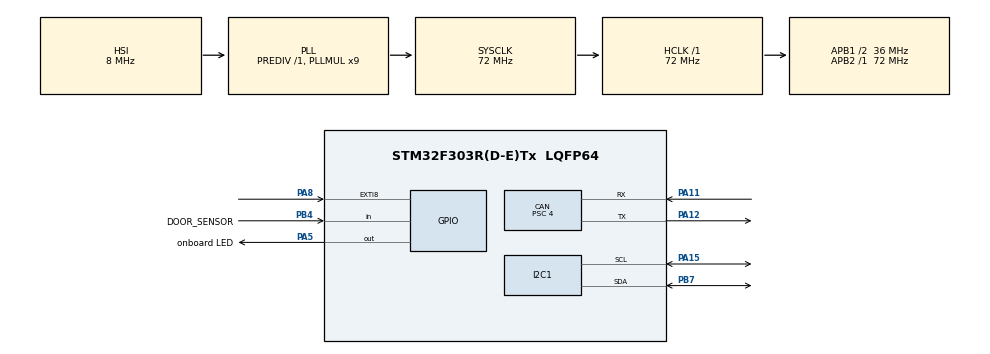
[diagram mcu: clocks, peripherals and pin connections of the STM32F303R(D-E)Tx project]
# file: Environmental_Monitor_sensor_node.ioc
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CAN.ABOM=ENABLE
CAN.AWUM=ENABLE
CAN.BS1=CAN_BS1_15TQ
CAN.BS2=CAN_BS2_2TQ
CAN.CalculateBaudRate=500000
CAN.CalculateTimeBit=2000
CAN.CalculateTimeQuantum=111.11111111111111
CAN.NART=ENABLE
CAN.Prescaler=4
I2C1.Timing=0x00201D2B
Mcu.Family=STM32F3
Mcu.Name=STM32F303R(D-E)Tx
Mcu.Package=LQFP64
NVIC.EXTI9_5_IRQn=true\:0\:0\:false\:false\:true\:true\:true\:true
NVIC.PriorityGroup=NVIC_PRIORITYGROUP_0
NVIC.USB_LP_CAN_RX0_IRQn=true\:0\:0\:false\:false\:true\:true\:true\:true
PA11.Mode=CAN_Activate
PA11.Signal=CAN_RX
PA12.Mode=CAN_Activate
PA12.Signal=CAN_TX
PA13.Mode=Serial_Wire
PA13.Signal=SYS_JTMS-SWDIO
PA14.Mode=Serial_Wire
PA14.Signal=SYS_JTCK-SWCLK
PA15.Mode=I2C
PA15.Signal=I2C1_SCL
PA5.GPIO_Label=onboard LED
PA5.GPIO_PuPd=GPIO_NOPULL
PA5.Signal=GPIO_Output
PA8.GPIO_ModeDefaultEXTI=GPIO_MODE_IT_RISING_FALLING
PA8.GPIO_PuPd=GPIO_NOPULL
PA8.Signal=GPXTI8
PB4.GPIO_Label=DOOR_SENSOR
PB4.GPIO_PuPd=GPIO_PULLUP
PB4.Signal=GPIO_Input
PB7.Mode=I2C
PB7.Signal=I2C1_SDA
ProjectManager.HeapSize=0x200
ProjectManager.StackSize=0x400
ProjectManager.TargetToolchain=STM32CubeIDE
RCC.AHBFreq_Value=72000000
RCC.APB1CLKDivider=RCC_HCLK_DIV2
RCC.APB1Freq_Value=36000000
RCC.APB1TimFreq_Value=72000000
RCC.APB2Freq_Value=72000000
RCC.APB2TimFreq_Value=72000000
RCC.CortexFreq_Value=72000000
RCC.HCLKFreq_Value=72000000
RCC.HSE_VALUE=8000000
RCC.HSI_VALUE=8000000
RCC.LSE_VALUE=32768
RCC.PLLM=8
RCC.PLLMUL=RCC_PLL_MUL9
RCC.PLLN=336
RCC.PLLP=RCC_PLLP_DIV4
RCC.PLLQ=7
RCC.RCC_PLLsource_Clock_Source_FROM_HSE=RCC_HSE_PREDIV_DIV2
RCC.SYSCLKFreq_VALUE=72000000
RCC.SYSCLKSourceVirtual=RCC_SYSCLKSOURCE_PLLCLK
RCC.USBFreq_Value=72000000
board=NUCLEO-F303RE

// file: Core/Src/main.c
/* USER CODE BEGIN Header */
/**
  ******************************************************************************
  * @file           : main.c
  * @brief          : Main program body
  ******************************************************************************
  * @attention
  *
  * Copyright (c) 2026 STMicroelectronics.
  * All rights reserved.
  *
  * This software is licensed under terms that can be found in the LICENSE file
  * in the root directory of this software component.
  * If no LICENSE file comes with this software, it is provided AS-IS.
  *
  ******************************************************************************
  */
/* USER CODE END Header */
#include "main.h"

/* USER CODE BEGIN Includes */
#include "bme280.h"
#include "pir.h"
#include "door.h"
#include <string.h>

/* USER CODE END Includes */

CAN_HandleTypeDef hcan;

I2C_HandleTypeDef hi2c1;

/* USER CODE BEGIN PV */
BME280_Data sensor_data;
uint8_t chip_id = 0;
HAL_StatusTypeDef status;
CAN_TxHeaderTypeDef   TxHeader;
uint8_t               TxData[8];
uint32_t              TxMailbox;
uint32_t last_tx_time = 0;
/* USER CODE END PV */

void SystemClock_Config(void);
static void MX_GPIO_Init(void);
static void MX_I2C1_Init(void);
static void MX_CAN_Init(void);

int main(void)
{

  /* MCU Configuration--------------------------------------------------------*/

  /* Reset of all peripherals, Initializes the Flash interface and the Systick. */
  HAL_Init();

  /* Configure the system clock */
  SystemClock_Config();

  /* Initialize all configured peripherals */
  MX_GPIO_Init();
  MX_I2C1_Init();
  MX_CAN_Init();
  /* USER CODE BEGIN 2 */
    BME280_Init(&hi2c1);
    // --- DIAGNOSTIC START ---

    // Try reading the ID register (0xD0) from address 0x76
   // status = HAL_I2C_Mem_Read(&hi2c1, (0x76 << 1), 0xD0, 1, &chip_id, 1, 100);

   // if (status != HAL_OK) {
        // If 0x76 failed, try 0x77
      //  status = HAL_I2C_Mem_Read(&hi2c1, (0x77 << 1), 0xD0, 1, &chip_id, 1, 100);
    //}
    // --- DIAGNOSTIC END ---

    // --- 1. CONFIG FILTER (Accept All) ---
    CAN_FilterTypeDef canfilterconfig;

    canfilterconfig.FilterActivation = CAN_FILTER_ENABLE;
    canfilterconfig.FilterBank = 10;
    canfilterconfig.FilterFIFOAssignment = CAN_RX_FIFO0;
    canfilterconfig.FilterIdHigh = 0;
    canfilterconfig.FilterIdLow = 0;
    canfilterconfig.FilterMaskIdHigh = 0;
    canfilterconfig.FilterMaskIdLow = 0;
    canfilterconfig.FilterMode = CAN_FILTERMODE_IDMASK;
    canfilterconfig.FilterScale = CAN_FILTERSCALE_32BIT;
    canfilterconfig.SlaveStartFilterBank = 14;

    HAL_CAN_ConfigFilter(&hcan, &canfilterconfig);

    // --- 2. START CAN ---
    HAL_CAN_Start(&hcan);

    // --- 3. SETUP HEADER ---
    TxHeader.DLC = 5;
    TxHeader.IDE = CAN_ID_STD;
    TxHeader.RTR = CAN_RTR_DATA;
    TxHeader.StdId = 0x103; // ID = 0x103
    TxHeader.TransmitGlobalTime = DISABLE;

  /* USER CODE END 2 */

  /* Infinite loop */
    /* USER CODE BEGIN WHILE */
    while (1)
    {
        BME280_ReadSensor(&sensor_data);

        // Send data every 500ms (prevent flooding the bus)
        if (HAL_GetTick() - last_tx_time > 500)
        {
        	last_tx_time = HAL_GetTick();
            // --- MESSAGE 1: ID 0x103 (Door + PIR + Temperature) ---
            TxHeader.StdId = 0x103;
            TxHeader.DLC = 6; // 1 byte Door + 1 byte PIR + 4 bytes Temp

            // Byte 0: Door Status
            if (HAL_GPIO_ReadPin(DOOR_SENSOR_GPIO_Port, DOOR_SENSOR_Pin) == GPIO_PIN_RESET) {
                TxData[0] = 'D'; // Open
            } else {
                TxData[0] = 'C'; // Closed
            }

            // Byte 1: PIR motion (1 = motion, 0 = no motion)
            TxData[1] = (PIR_GetStatus() == PIR_MOTION_DETECTED) ? 1 : 0;

            // Bytes 2-5: Temperature (float)
            memcpy(&TxData[2], &sensor_data.temperature_C, 4);

            if (HAL_CAN_GetTxMailboxesFreeLevel(&hcan) > 0) {
                HAL_CAN_AddTxMessage(&hcan, &TxHeader, TxData, &TxMailbox);
                HAL_GPIO_TogglePin(onboard_LED_GPIO_Port, onboard_LED_Pin); // Blink on send
            }

            HAL_Delay(10); // Small delay between messages

            // --- MESSAGE 2: ID 0x104 (Pressure + Humidity) ---
            TxHeader.StdId = 0x104;
            TxHeader.DLC = 8; // 4 bytes Pressure + 4 bytes Humidity

            // Bytes 0-3: Pressure
            memcpy(&TxData[0], &sensor_data.pressure_hPa, 4);

            // Bytes 4-7: Humidity
            memcpy(&TxData[4], &sensor_data.humidity_pct, 4);

            // Wait until a mailbox becomes available before dropping the next message
            uint32_t timeout = HAL_GetTick();
            while (HAL_CAN_GetTxMailboxesFreeLevel(&hcan) == 0) {
                if (HAL_GetTick() - timeout > 10) {
                    break; // Timeout! Escape the loop.
                }
            }
            // Only add the message if we actually broke out because a mailbox opened
            if (HAL_CAN_GetTxMailboxesFreeLevel(&hcan) > 0) {
                HAL_CAN_AddTxMessage(&hcan, &TxHeader, TxData, &TxMailbox);
            }
        }
    }
    /* USER CODE END WHILE */
    /* USER CODE BEGIN 3 */
  // }
  /* USER CODE END 3 */
}

void SystemClock_Config(void)
{
  RCC_OscInitTypeDef RCC_OscInitStruct = {0};
  RCC_ClkInitTypeDef RCC_ClkInitStruct = {0};
  RCC_PeriphCLKInitTypeDef PeriphClkInit = {0};

  /** Initializes the RCC Oscillators according to the specified parameters
  * in the RCC_OscInitTypeDef structure.
  */
  RCC_OscInitStruct.OscillatorType = RCC_OSCILLATORTYPE_HSI;
  RCC_OscInitStruct.HSIState = RCC_HSI_ON;
  RCC_OscInitStruct.HSICalibrationValue = RCC_HSICALIBRATION_DEFAULT;
  RCC_OscInitStruct.PLL.PLLState = RCC_PLL_ON;
  RCC_OscInitStruct.PLL.PLLSource = RCC_PLLSOURCE_HSI;
  RCC_OscInitStruct.PLL.PLLMUL = RCC_PLL_MUL9;
  RCC_OscInitStruct.PLL.PREDIV = RCC_PREDIV_DIV1;
  if (HAL_RCC_OscConfig(&RCC_OscInitStruct) != HAL_OK)
  {
    Error_Handler();
  }

  /** Initializes the CPU, AHB and APB buses clocks
  */
  RCC_ClkInitStruct.ClockType = RCC_CLOCKTYPE_HCLK|RCC_CLOCKTYPE_SYSCLK
                              |RCC_CLOCKTYPE_PCLK1|RCC_CLOCKTYPE_PCLK2;
  RCC_ClkInitStruct.SYSCLKSource = RCC_SYSCLKSOURCE_PLLCLK;
  RCC_ClkInitStruct.AHBCLKDivider = RCC_SYSCLK_DIV1;
  RCC_ClkInitStruct.APB1CLKDivider = RCC_HCLK_DIV2;
  RCC_ClkInitStruct.APB2CLKDivider = RCC_HCLK_DIV1;

  if (HAL_RCC_ClockConfig(&RCC_ClkInitStruct, FLASH_LATENCY_2) != HAL_OK)
  {
    Error_Handler();
  }
  PeriphClkInit.PeriphClockSelection = RCC_PERIPHCLK_I2C1;
  PeriphClkInit.I2c1ClockSelection = RCC_I2C1CLKSOURCE_HSI;
  if (HAL_RCCEx_PeriphCLKConfig(&PeriphClkInit) != HAL_OK)
  {
    Error_Handler();
  }
}

static void MX_CAN_Init(void)
{

  hcan.Instance = CAN;
  hcan.Init.Prescaler = 4;
  hcan.Init.Mode = CAN_MODE_NORMAL;
  hcan.Init.SyncJumpWidth = CAN_SJW_1TQ;
  hcan.Init.TimeSeg1 = CAN_BS1_15TQ;
  hcan.Init.TimeSeg2 = CAN_BS2_2TQ;
  hcan.Init.TimeTriggeredMode = DISABLE;
  hcan.Init.AutoBusOff = ENABLE;
  hcan.Init.AutoWakeUp = ENABLE;
  hcan.Init.AutoRetransmission = ENABLE;
  hcan.Init.ReceiveFifoLocked = DISABLE;
  hcan.Init.TransmitFifoPriority = DISABLE;
  if (HAL_CAN_Init(&hcan) != HAL_OK)
  {
    Error_Handler();
  }

}

static void MX_I2C1_Init(void)
{

  hi2c1.Instance = I2C1;
  hi2c1.Init.Timing = 0x00201D2B;
  hi2c1.Init.OwnAddress1 = 0;
  hi2c1.Init.AddressingMode = I2C_ADDRESSINGMODE_7BIT;
  hi2c1.Init.DualAddressMode = I2C_DUALADDRESS_DISABLE;
  hi2c1.Init.OwnAddress2 = 0;
  hi2c1.Init.OwnAddress2Masks = I2C_OA2_NOMASK;
  hi2c1.Init.GeneralCallMode = I2C_GENERALCALL_DISABLE;
  hi2c1.Init.NoStretchMode = I2C_NOSTRETCH_DISABLE;
  if (HAL_I2C_Init(&hi2c1) != HAL_OK)
  {
    Error_Handler();
  }

  /** Configure Analogue filter
  */
  if (HAL_I2CEx_ConfigAnalogFilter(&hi2c1, I2C_ANALOGFILTER_ENABLE) != HAL_OK)
  {
    Error_Handler();
  }

  /** Configure Digital filter
  */
  if (HAL_I2CEx_ConfigDigitalFilter(&hi2c1, 0) != HAL_OK)
  {
    Error_Handler();
  }

}

static void MX_GPIO_Init(void)
{
  GPIO_InitTypeDef GPIO_InitStruct = {0};

  /* GPIO Ports Clock Enable */
  __HAL_RCC_GPIOA_CLK_ENABLE();
  __HAL_RCC_GPIOB_CLK_ENABLE();

  /*Configure GPIO pin Output Level */
  HAL_GPIO_WritePin(onboard_LED_GPIO_Port, onboard_LED_Pin, GPIO_PIN_RESET);

  /*Configure GPIO pin : onboard_LED_Pin */
  GPIO_InitStruct.Pin = onboard_LED_Pin;
  GPIO_InitStruct.Mode = GPIO_MODE_OUTPUT_PP;
  GPIO_InitStruct.Pull = GPIO_NOPULL;
  GPIO_InitStruct.Speed = GPIO_SPEED_FREQ_LOW;
  HAL_GPIO_Init(onboard_LED_GPIO_Port, &GPIO_InitStruct);

  /*Configure GPIO pin : PA8 */
  GPIO_InitStruct.Pin = GPIO_PIN_8;
  GPIO_InitStruct.Mode = GPIO_MODE_IT_RISING_FALLING;
  GPIO_InitStruct.Pull = GPIO_NOPULL;
  HAL_GPIO_Init(GPIOA, &GPIO_InitStruct);

  /*Configure GPIO pin : DOOR_SENSOR_Pin */
  GPIO_InitStruct.Pin = DOOR_SENSOR_Pin;
  GPIO_InitStruct.Mode = GPIO_MODE_INPUT;
  GPIO_InitStruct.Pull = GPIO_PULLUP;
  HAL_GPIO_Init(DOOR_SENSOR_GPIO_Port, &GPIO_InitStruct);

  /* EXTI interrupt init*/
  HAL_NVIC_SetPriority(EXTI9_5_IRQn, 0, 0);
  HAL_NVIC_EnableIRQ(EXTI9_5_IRQn);

}

/* USER CODE BEGIN 4 */

// This function is AUTOMATICALLY called when an interrupt happens
void HAL_GPIO_EXTI_Callback(uint16_t GPIO_Pin)
{
    if (GPIO_Pin == PIR_PIN) // Verify it's the PIR pin (PA8) that triggered this
    {
        if (PIR_GetStatus() == PIR_MOTION_DETECTED)
        {
            // Motion Started -> Turn LED ON
            HAL_GPIO_WritePin(onboard_LED_GPIO_Port, onboard_LED_Pin, GPIO_PIN_SET);
        }
        else
        {
            // Motion Stopped -> Turn LED OFF
            HAL_GPIO_WritePin(onboard_LED_GPIO_Port, onboard_LED_Pin, GPIO_PIN_RESET);
        }
    }
}

/* USER CODE END 4 */

void Error_Handler(void)
{
  __disable_irq();
  while (1)
  {
  }
}
